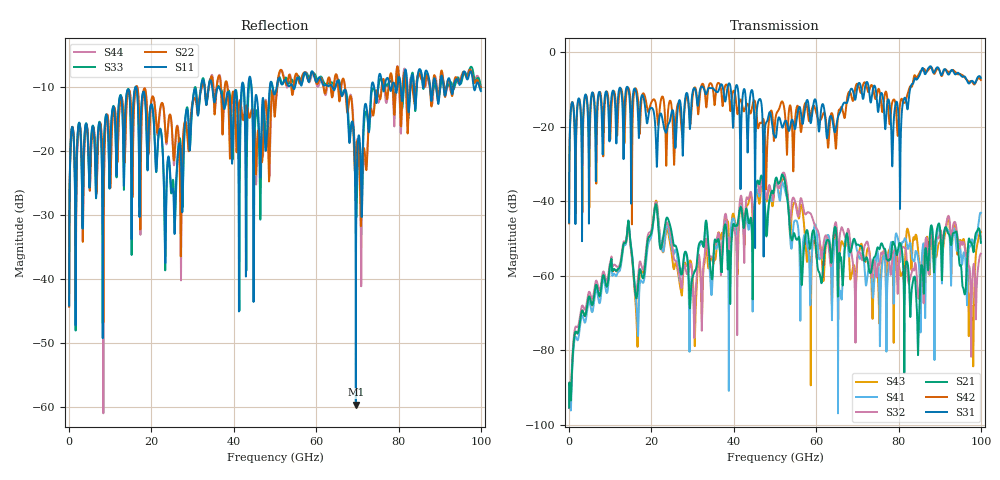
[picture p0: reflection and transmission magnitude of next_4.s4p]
# Hz S RI R 50
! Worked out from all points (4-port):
!   10000 points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, 10 MHz to 100 GHz, reference 50 ohm
!   strongest paths, dB at 10 MHz, 25.01 GHz, 50.01 GHz, 75.01 GHz, 100 GHz:
!     S31: -45.7, -15.7, -22.8, -16.0, -6.9
!     S42: -45.9, -16.0, -18.9, -10.1, -7.5
!     S21: -95.4, -49.0, -34.7, -52.4, -51.2
!     S32: -95.4, -51.0, -35.4, -57.0, -54.0
!     S41: -95.3, -52.8, -34.9, -54.4, -43.1
!     S43: -95.4, -54.9, -35.3, -60.8, -48.2
!   lowest |S11| = -59.7 dB at 69.63 GHz (marker M1), VSWR 1.00, Z = 50.1 - j0.0805 ohm
!   |S11| at or under -10 dB: start of sweep to 32.06 GHz; 34.75 GHz to 41.92 GHz (7.172 GHz wide, 18.7 % of centre); 65.74 GHz to 73.45 GHz (7.708 GHz wide, 11.1 % of centre)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
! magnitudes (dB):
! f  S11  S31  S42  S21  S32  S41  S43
! 10 MHz  -44.2  -45.7  -45.9  -95.4  -95.4  -95.3  -95.4
! 52.05 GHz  -9.3  -19.7  -13.9  -33.3  -32.3  -35.5  -33.8
! 69.63 GHz  -59.7  -12.1  -9.0  -51.3  -67.6  -51.8  -61.7
! 84.72 GHz  -8.1  -7.0  -6.3  -81.0  -65.1  -55.2  -52.8
! 91.98 GHz  -9.0  -5.9  -5.2  -48.5  -44.1  -47.7  -44.6
! 97.88 GHz  -8.3  -7.7  -8.0  -51.7  -62.4  -50.2  -68.8
! 100 GHz  -10.7  -6.9  -7.5  -51.2  -54.0  -43.1  -48.2
